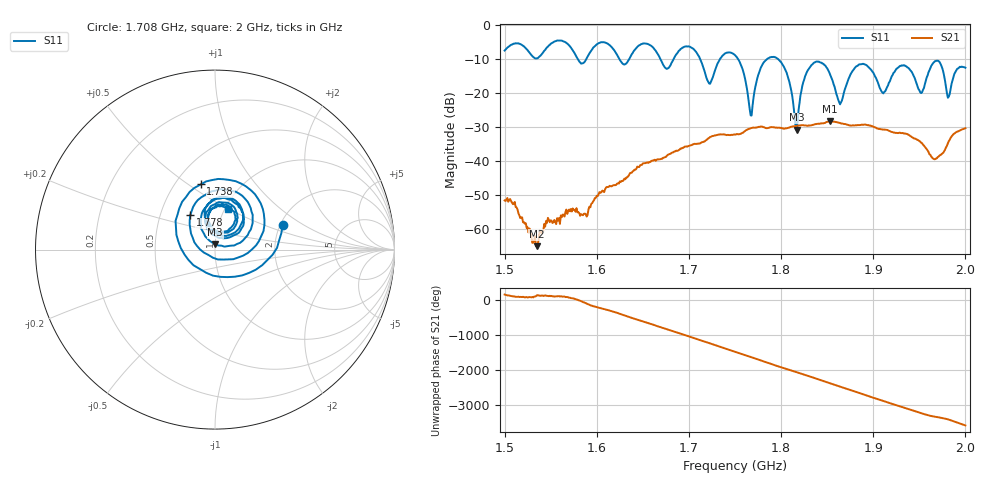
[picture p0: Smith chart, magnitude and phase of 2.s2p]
! NanoVNA-App by SYSJOINT et al v1.1.209 (+OD18)
! Date: 2026-01-21 14:30:37
! Start: 1,5GHz Stop: 2GHz Points: 501
! S-Parameter data: F S11 S21 S12 S22
# Hz S RI R 50
!  Frequency  S11_Real  S11_Imag  S21_Real  S21_Imag  S12_Real  S12_Imag  S22_Real  S22_Imag
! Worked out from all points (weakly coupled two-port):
!   501 points, 1.5 GHz to 2 GHz, reference 50 ohm
!   highest |S21| = -28.36 dB at 1.853 GHz (marker M1); lowest = -65.1 dB at 1.535 GHz (marker M2)
!   lowest |S11| = -30.8 dB at 1.817 GHz (marker M3), VSWR 1.06, Z = 50 + j2.88 ohm
!   |S11| at or under -10 dB: 1.712 GHz to 1.734 GHz (21.4 MHz wide, 1.24 % of centre); 1.753 GHz to 1.785 GHz (31.35 MHz wide, 1.77 % of centre); 1.797 GHz to end of sweep (the widest 3 of 6)
!   S12 and S22 are empty: the file has one direction only
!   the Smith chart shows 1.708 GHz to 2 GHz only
!   S11 on the Smith chart (normalised r, x): 1.708 GHz: 2.07, +0.67; 1.738 GHz: 0.66, +0.56; 1.778 GHz: 0.71, +0.29; 2 GHz: 1.03, +0.49
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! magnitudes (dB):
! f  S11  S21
! 1.5 GHz  -7.5  -51.6
! 1.535 GHz  -9.8  -65.1
! 1.584 GHz  -11.2  -55.8
! 1.667 GHz  -8.9  -39.6
! 1.708 GHz  -7.9  -35.0
! 1.722 GHz  -17.2  -33.2
! 1.738 GHz  -8.6  -32.2
! 1.75 GHz  -8.8  -32.2
! 1.767 GHz  -26.6  -30.4
! 1.778 GHz  -12.5  -29.9
! 1.801 GHz  -11.4  -30.4
! 1.817 GHz  -30.8  -29.7
! 1.834 GHz  -11.5  -29.4
! 1.853 GHz  -14.4  -28.4
! 1.864 GHz  -23.3  -28.8
! 1.886 GHz  -11.5  -29.4
! 1.917 GHz  -17.0  -31.1
! 1.934 GHz  -11.8  -31.9
! 1.952 GHz  -20.0  -34.6
! 1.967 GHz  -10.6  -39.5
! 1.982 GHz  -21.0  -34.2
! 2 GHz  -12.5  -30.3
